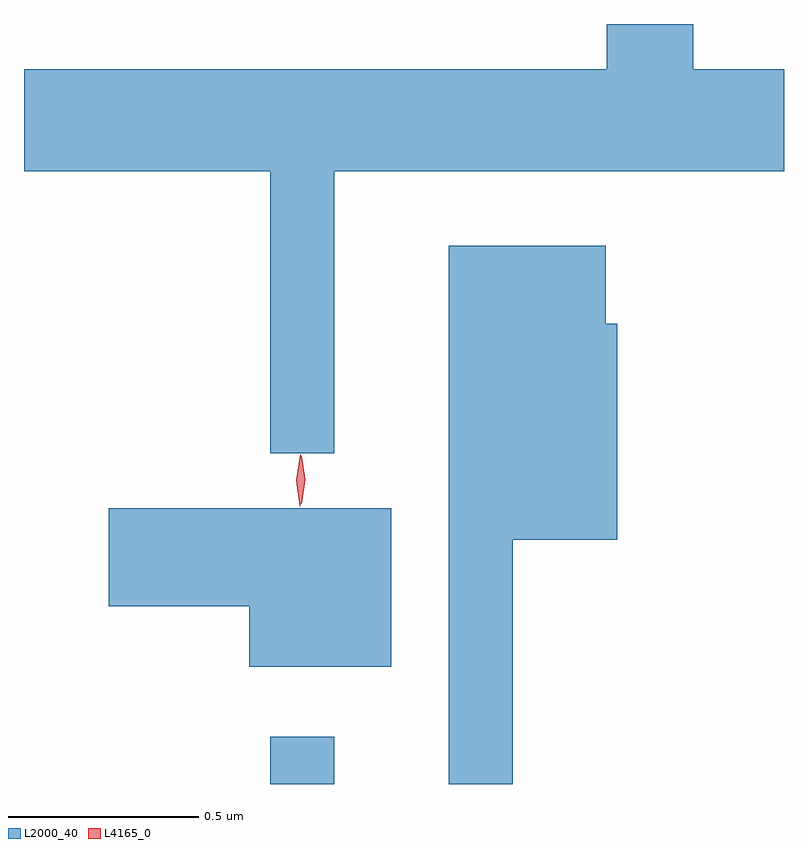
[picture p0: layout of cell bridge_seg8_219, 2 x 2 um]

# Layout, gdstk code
import gdstk
lib = gdstk.Library(unit=1e-6, precision=1e-09)
def R(c, l, rs):  # rectangles x0, y0, x1, y1
    for r in rs: c.add(gdstk.rectangle(r[:2], r[2:], *l))
def P(c, l, *ps):  # polygons
    for p in ps: c.add(gdstk.Polygon(p, *l))
L2000_40 = (2000, 40)
L4165_0 = (4165, 0)

bridge_seg8_219 = lib.new_cell('bridge_seg8_219')
R(bridge_seg8_219, L2000_40, [(1110.381,1903.623,1110.549,1903.748)])
P(bridge_seg8_219, L2000_40, [(1110.549,1905.236),(1111.733,1905.236),(1111.733,1905.504),(1111.494,1905.504),(1111.494,1905.623),(1111.266,1905.623),(1111.266,1905.504),(1109.733,1905.504),(1109.733,1905.236),(1110.381,1905.236),(1110.381,1904.493),(1110.549,1904.493)],
  [(1111.019,1904.266),(1111.294,1904.266),(1111.294,1904.834),(1111.264,1904.834),(1111.264,1905.039),(1110.851,1905.039),(1110.851,1903.623),(1111.019,1903.623)],
  [(1110.699,1904.349),(1109.956,1904.349),(1109.956,1904.091),(1110.326,1904.091),(1110.326,1903.931),(1110.699,1903.931)])
P(bridge_seg8_219, L4165_0, [(1110.462,1904.36),(1110.453,1904.424),(1110.462,1904.486),(1110.463,1904.487),(1110.464,1904.486),(1110.473,1904.424),(1110.464,1904.36),(1110.463,1904.36)],
  [(1110.459,1904.354),(1110.459,1904.354),(1110.45,1904.422),(1110.46,1904.49),(1110.461,1904.49),(1110.461,1904.49),(1110.47,1904.422),(1110.46,1904.354)])

lib.write_gds('bridge_seg8_219.gds')
